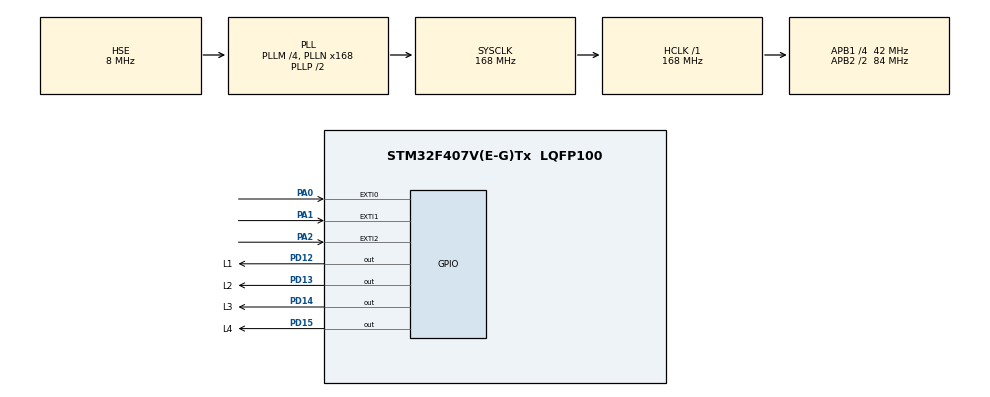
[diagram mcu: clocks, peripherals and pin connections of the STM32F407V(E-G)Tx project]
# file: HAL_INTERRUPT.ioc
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Mcu.Family=STM32F4
Mcu.Name=STM32F407V(E-G)Tx
Mcu.Package=LQFP100
NVIC.EXTI0_IRQn=true\:0\:0\:false\:false\:true\:true\:true
NVIC.EXTI1_IRQn=true\:0\:0\:false\:false\:true\:true\:true
NVIC.EXTI2_IRQn=true\:0\:0\:false\:false\:true\:true\:true
NVIC.PriorityGroup=NVIC_PRIORITYGROUP_4
PA0-WKUP.GPIO_PuPd=GPIO_PULLDOWN
PA0-WKUP.Signal=GPXTI0
PA1.GPIO_PuPd=GPIO_PULLDOWN
PA1.Signal=GPXTI1
PA2.GPIO_PuPd=GPIO_PULLDOWN
PA2.Signal=GPXTI2
PD12.GPIO_Label=L1
PD12.GPIO_Speed=GPIO_SPEED_FREQ_VERY_HIGH
PD12.Signal=GPIO_Output
PD13.GPIO_Label=L2
PD13.GPIO_Speed=GPIO_SPEED_FREQ_VERY_HIGH
PD13.Signal=GPIO_Output
PD14.GPIO_Label=L3
PD14.GPIO_Speed=GPIO_SPEED_FREQ_VERY_HIGH
PD14.Signal=GPIO_Output
PD15.GPIO_Label=L4
PD15.GPIO_Speed=GPIO_SPEED_FREQ_VERY_HIGH
PD15.Signal=GPIO_Output
PH0-OSC_IN.Mode=HSE-External-Oscillator
PH0-OSC_IN.Signal=RCC_OSC_IN
PH1-OSC_OUT.Mode=HSE-External-Oscillator
PH1-OSC_OUT.Signal=RCC_OSC_OUT
ProjectManager.HeapSize=0x200
ProjectManager.StackSize=0x400
ProjectManager.TargetToolchain=MDK-ARM V5.27
RCC.48MHZClocksFreq_Value=84000000
RCC.AHBFreq_Value=168000000
RCC.APB1CLKDivider=RCC_HCLK_DIV4
RCC.APB1Freq_Value=42000000
RCC.APB1TimFreq_Value=84000000
RCC.APB2CLKDivider=RCC_HCLK_DIV2
RCC.APB2Freq_Value=84000000
RCC.APB2TimFreq_Value=168000000
RCC.CortexFreq_Value=168000000
RCC.HCLKFreq_Value=168000000
RCC.HSE_VALUE=8000000
RCC.HSI_VALUE=16000000
RCC.LSE_VALUE=32768
RCC.PLLM=4
RCC.PLLN=168
RCC.PLLSourceVirtual=RCC_PLLSOURCE_HSE
RCC.SYSCLKFreq_VALUE=168000000
RCC.SYSCLKSource=RCC_SYSCLKSOURCE_PLLCLK
RCC.VCOOutputFreq_Value=336000000
board=custom

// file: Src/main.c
/* USER CODE BEGIN Header */
/**
  ******************************************************************************
  * @file           : main.c
  * @brief          : Main program body
  ******************************************************************************
  * @attention
  *
  * <h2><center>&copy; Copyright (c) 2020 STMicroelectronics.
  * All rights reserved.</center></h2>
  *
  * This software component is licensed by ST under BSD 3-Clause license,
  * the "License"; You may not use this file except in compliance with the
  * License. You may obtain a copy of the License at:
  *                        opensource.org/licenses/BSD-3-Clause
  *
  ******************************************************************************
  */
/* USER CODE END Header */

#include "main.h"

void SystemClock_Config(void);
static void MX_GPIO_Init(void);

/* USER CODE BEGIN 0 */
int count=1, i=0;

void HAL_GPIO_EXTI_Callback(uint16_t GPIO_Pin)
{
  /* Prevent unused argument(s) compilation warning */
  //	UNUSED(GPIO_Pin);
  /* NOTE: This function Should not be modified, when the callback is needed,
           the HAL_GPIO_EXTI_Callback could be implemented in the user file
   */
	i++;
	if(i == 1){
		count= 100;
	}
	else if(i == 2){
		count= 500;
	}
	else if(i == 3){
		count= 1000;
		i=0;
	}

}
/* USER CODE END 0 */

int main(void)
{

  /* MCU Configuration--------------------------------------------------------*/

  /* Reset of all peripherals, Initializes the Flash interface and the Systick. */
  HAL_Init();

  /* Configure the system clock */
  SystemClock_Config();

  /* Initialize all configured peripherals */
  MX_GPIO_Init();

  /* Infinite loop */
  while (1)
  {

    /* USER CODE BEGIN 3 */

			HAL_GPIO_TogglePin(GPIOD, L1_Pin );
			HAL_Delay(count);
			HAL_GPIO_TogglePin(GPIOD, L2_Pin );
			HAL_Delay(count);
			HAL_GPIO_TogglePin(GPIOD, L3_Pin );
			HAL_Delay(count);
			HAL_GPIO_TogglePin(GPIOD, L4_Pin );
			HAL_Delay(count);

  }
  /* USER CODE END 3 */
}

void SystemClock_Config(void)
{
  RCC_OscInitTypeDef RCC_OscInitStruct = {0};
  RCC_ClkInitTypeDef RCC_ClkInitStruct = {0};

  /** Configure the main internal regulator output voltage
  */
  __HAL_RCC_PWR_CLK_ENABLE();
  __HAL_PWR_VOLTAGESCALING_CONFIG(PWR_REGULATOR_VOLTAGE_SCALE1);
  /** Initializes the CPU, AHB and APB busses clocks
  */
  RCC_OscInitStruct.OscillatorType = RCC_OSCILLATORTYPE_HSE;
  RCC_OscInitStruct.HSEState = RCC_HSE_ON;
  RCC_OscInitStruct.PLL.PLLState = RCC_PLL_ON;
  RCC_OscInitStruct.PLL.PLLSource = RCC_PLLSOURCE_HSE;
  RCC_OscInitStruct.PLL.PLLM = 4;
  RCC_OscInitStruct.PLL.PLLN = 168;
  RCC_OscInitStruct.PLL.PLLP = RCC_PLLP_DIV2;
  RCC_OscInitStruct.PLL.PLLQ = 4;
  if (HAL_RCC_OscConfig(&RCC_OscInitStruct) != HAL_OK)
  {
    Error_Handler();
  }
  /** Initializes the CPU, AHB and APB busses clocks
  */
  RCC_ClkInitStruct.ClockType = RCC_CLOCKTYPE_HCLK|RCC_CLOCKTYPE_SYSCLK
                              |RCC_CLOCKTYPE_PCLK1|RCC_CLOCKTYPE_PCLK2;
  RCC_ClkInitStruct.SYSCLKSource = RCC_SYSCLKSOURCE_PLLCLK;
  RCC_ClkInitStruct.AHBCLKDivider = RCC_SYSCLK_DIV1;
  RCC_ClkInitStruct.APB1CLKDivider = RCC_HCLK_DIV4;
  RCC_ClkInitStruct.APB2CLKDivider = RCC_HCLK_DIV2;

  if (HAL_RCC_ClockConfig(&RCC_ClkInitStruct, FLASH_LATENCY_5) != HAL_OK)
  {
    Error_Handler();
  }
}

static void MX_GPIO_Init(void)
{
  GPIO_InitTypeDef GPIO_InitStruct = {0};

  /* GPIO Ports Clock Enable */
  __HAL_RCC_GPIOH_CLK_ENABLE();
  __HAL_RCC_GPIOA_CLK_ENABLE();
  __HAL_RCC_GPIOD_CLK_ENABLE();

  /*Configure GPIO pin Output Level */
  HAL_GPIO_WritePin(GPIOD, L1_Pin|L2_Pin|L3_Pin|L4_Pin, GPIO_PIN_RESET);

  /*Configure GPIO pins : PA0 PA1 PA2 */
  GPIO_InitStruct.Pin = GPIO_PIN_0|GPIO_PIN_1|GPIO_PIN_2;
  GPIO_InitStruct.Mode = GPIO_MODE_IT_RISING;
  GPIO_InitStruct.Pull = GPIO_PULLDOWN;
  HAL_GPIO_Init(GPIOA, &GPIO_InitStruct);

  /*Configure GPIO pins : L1_Pin L2_Pin L3_Pin L4_Pin */
  GPIO_InitStruct.Pin = L1_Pin|L2_Pin|L3_Pin|L4_Pin;
  GPIO_InitStruct.Mode = GPIO_MODE_OUTPUT_PP;
  GPIO_InitStruct.Pull = GPIO_NOPULL;
  GPIO_InitStruct.Speed = GPIO_SPEED_FREQ_VERY_HIGH;
  HAL_GPIO_Init(GPIOD, &GPIO_InitStruct);

  /* EXTI interrupt init*/
  HAL_NVIC_SetPriority(EXTI0_IRQn, 0, 0);
  HAL_NVIC_EnableIRQ(EXTI0_IRQn);

  HAL_NVIC_SetPriority(EXTI1_IRQn, 0, 0);
  HAL_NVIC_EnableIRQ(EXTI1_IRQn);

  HAL_NVIC_SetPriority(EXTI2_IRQn, 0, 0);
  HAL_NVIC_EnableIRQ(EXTI2_IRQn);

}

void Error_Handler(void)
{
}

/************************ (C) COPYRIGHT STMicroelectronics *****END OF FILE****/
